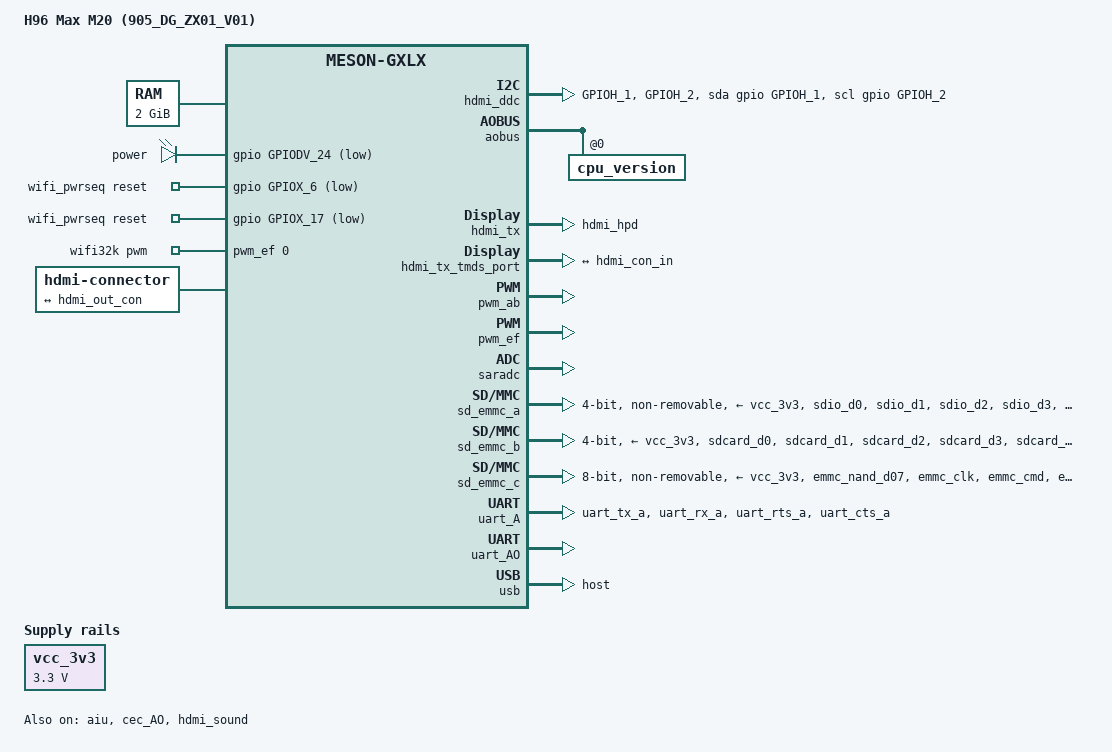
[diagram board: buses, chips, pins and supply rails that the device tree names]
/dts-v1/;

/*
 * Written by tools/dtcx/upstream.py from board.dts: a view, not edited.
 * Over gregkh/linux at v7.3.4.
 * Needs, beyond it, found by name and so best-effort: each
 * patch adding a name the tree uses or a dtsi change it keeps, which may in
 * turn need others before it:
 *   patches/linux-meson/0009-dt-bindings-display-meson-dw-hdmi-Add-GXLX2-and-ddc-i2c-bus.patch:
 *     "amlogic,meson-gxlx2-dw-hdmi"
 *   patches/linux-meson/0010-dt-bindings-media-amlogic-gx-vdec-Add-the-GXLX-mailbox-interrupt.patch:
 *     "amlogic,gxlx-vdec"
 *   patches/meson-dw-hdmi/0001-drm-meson-dw-hdmi-add-GXLX2-support.patch:
 *     "amlogic,meson-gxlx2-dw-hdmi"
 *   patches/linux-meson/0008-arm64-dts-amlogic-Add-the-GXLX2-S905L3-SoC.patch:
 *     the dtsi, which it creates
 *   patches/meson-codecs/0004-venc-h264-gxlx2.patch:
 *     "amlogic,amvenc_avc", "amlogic,gxlx-vdec"
 *   patches/meson-codecs/0005-venc-hevc-gxlx2.patch:
 *     "amlogic,gxl-clkc", "amlogic,gxlx-vdec", "cnm,HevcEnc"
 * Left out, the distribution's, not the board's:
 *   /reserved-memory/ramoops@7400000
 */

#include "meson-gxlx2-s905l3.dtsi"
#include <dt-bindings/gpio/gpio.h>
#include <dt-bindings/gpio/meson-gxl-gpio.h>
#include <dt-bindings/interrupt-controller/arm-gic.h>
#include <dt-bindings/interrupt-controller/irq.h>

/ {
	/* board first; the GXLX family last, which mainline's drivers match */
	compatible = "h96max-m20,gxlx2-tvbox", "amlogic,p291", "amlogic,s905l", "amlogic,meson-gxlx";
	/* the factory's model is only "Amlogic" */
	model = "H96 Max M20 (905_DG_ZX01_V01)";

	aliases {
		serial0 = &uart_AO;
		serial1 = &uart_A;
		serial2 = &uart_B;
		serial3 = &uart_C;
		serial4 = &uart_AO_B;
	};

	chosen {
		/* earlycon, in BOARD_CMDLINE, takes its console from here */
		stdout-path = "serial0:115200n8";
	};

	cpus {
		cpu-map {
			cluster0: cluster0 {
				core0 {
					cpu = <&cpu0>;
				};

				core1 {
					cpu = <&cpu1>;
				};

				core2 {
					cpu = <&cpu2>;
				};

				core3 {
					cpu = <&cpu3>;
				};
			};
		};
	};

	thermal-zones {
		cpu-thermal {
			polling-delay-passive = <100>;
			sustainable-power = <2150>;

			trips {
				switch_on: trip-0 {
					temperature = <75000>;
					hysteresis = <1000>;
					type = "passive";
				};
			};
		};
	};

	/* 2 GiB, where stock's linux,usable-memory ends; U-Boot writes what it finds at boot */
	memory@0 {
		device_type = "memory";
		reg = <0x0 0x0 0x0 0x80000000>;
	};

	gpioleds {
		compatible = "gpio-leds";
		status = "okay";

		/* the board's one LED, blue: the factory's sys_red, which its disabled sysled node
		   drives active low; power is the name the shared LED hooks drive */
		led-power {
			label = "power";
			gpios = <&gpio GPIODV_24 GPIO_ACTIVE_LOW>;
			default-state = "on";
		};
	};

	amvenc_avc {
		compatible = "amlogic,amvenc_avc";
		interrupts = <GIC_SPI 45 IRQ_TYPE_EDGE_RISING>;
		interrupt-names = "mailbox_2";
		status = "okay";
	};

	hevc_enc {
		compatible = "cnm,HevcEnc";
		interrupts = <GIC_SPI 187 IRQ_TYPE_EDGE_RISING>;
		interrupt-names = "wave420l_irq";
		#address-cells = <1>;
		#size-cells = <1>;
		ranges;
		status = "okay";

		io_reg_base@c8810000 {
			reg = <0xc8810000 0x4000>;
		};
	};

	wifi_pwrseq: sdio-pwrseq {
		compatible = "mmc-pwrseq-simple";
		/* the combo chip's Bluetooth enable too, the factory's bt-dev gpio_en: both halves
		   power up together, before the SDIO bus probes */
		reset-gpios = <&gpio GPIOX_6 GPIO_ACTIVE_LOW>, <&gpio GPIOX_17 GPIO_ACTIVE_LOW>;
		pinctrl-names = "default";
		pinctrl-0 = <&wifi_32k_pins>;
		clocks = <&wifi32k>;
		clock-names = "ext_clock";
	};

	wifi32k: wifi32k {
		compatible = "pwm-clock";
		#clock-cells = <0>;
		clock-frequency = <32770>;
		pwms = <&pwm_ef 0 30516 0>;
	};

	vcc_3v3: regulator-vcc-3v3 {
		compatible = "regulator-fixed";
		regulator-name = "VCC_3V3";
		regulator-min-microvolt = <3300000>;
		regulator-max-microvolt = <3300000>;
		regulator-always-on;
	};

	connector {
		compatible = "hdmi-connector";
		type = "a";

		port {
			hdmi_con_in: endpoint {
				remote-endpoint = <&hdmi_out_con>;
			};
		};
	};

	/* the HDMI DDC lines as a full I2C bus: dw-hdmi's own master reads the EDID but
	   refuses DDC/CI */
	hdmi_ddc: i2c-ddc {
		compatible = "i2c-gpio";
		sda-gpios = <&gpio GPIOH_1 GPIO_OPEN_DRAIN>;
		scl-gpios = <&gpio GPIOH_2 GPIO_OPEN_DRAIN>;
		i2c-gpio,delay-us = <5>;
		pinctrl-names = "default";
		pinctrl-0 = <&hdmitx_ddc_gpio>;
	};
};

&aiu {
	status = "okay";
};

&aobus {
	cpu_version@220 {
		reg = <0 0x220 0 0x04>;
	};
};

&cec_AO {
	pinctrl-names = "default";
	pinctrl-0 = <&hdmitx_aocec>;
	hdmi-phandle = <&hdmi_tx>;
	status = "okay";
};

&cpu_cooling_maps {
	map-gpu {
		trip = <&cpu_passive>;
		cooling-device = <&mali 0 4>;
		contribution = <1024>;
	};
};

&cpu_critical {
	hysteresis = <1000>;
};

&cpu_hot {
	temperature = <95000>;
	hysteresis = <5000>;
};

&cpu_passive {
	temperature = <85000>;
	hysteresis = <1000>;
};

&eth_phy_mux {
	/* NOT FITTED: the Ethernet PHY's MDIO, with no Ethernet */
	status = "disabled";
};

/* HDMI audio: the AIU's I2S into the HDMI transmitter, inside the SoC */
&hdmi_sound {
	/* the ALSA id the board's hdmi-audio files key on */
	model = "H96-MAX-M20";
	status = "okay";
};

/* DWC registers byte-addressed from here, TOP registers 0x8000 on */
&hdmi_tx {
	pinctrl-names = "default";
	/* hot-plug only: the DDC pins are i2c-hdmi-ddc's */
	pinctrl-0 = <&hdmitx_hpd>;
	ddc-i2c-bus = <&hdmi_ddc>;
	status = "okay";
};

/* TMDS Output */
&hdmi_tx_tmds_port {
	hdmi_out_con: endpoint {
		remote-endpoint = <&hdmi_con_in>;
	};
};

&mali {
	#cooling-cells = <2>;
};

&pinctrl_aobus {
	hdmitx_aocec: hdmitx_aocec {
		mux {
			groups = "ao_cec";
			function = "cec_ao";
		};
	};
};

&pinctrl_periphs {
	a_uart_pins: a_uart {
		mux {
			groups = "uart_tx_a", "uart_rx_a", "uart_rts_a";
			function = "uart_a";
		};

		mux1 {
			groups = "uart_cts_a";
			function = "uart_a";
			bias-pull-down;
		};
	};

	wifi_32k_pins: wifi_32k_pins {
		mux {
			groups = "pwm_e";
			function = "pwm_e";
		};
	};

	emmc_conf_pull_up: emmc_conf_pull_up {
		mux {
			groups = "emmc_nand_d07", "emmc_clk", "emmc_cmd";
			function = "emmc";
			input-enable;
			bias-pull-up;
		};
	};

	emmc_conf_pull_done: emmc_conf_pull_done {
		mux {
			groups = "emmc_ds";
			function = "emmc";
			input-enable;
			bias-pull-down;
		};
	};

	sd_all_pins: sd_all_pins {
		mux {
			groups = "sdcard_d0", "sdcard_d1", "sdcard_d2", "sdcard_d3", "sdcard_cmd", "sdcard_clk";
			function = "sdcard";
			input-enable;
			bias-pull-up;
		};
	};

	sdio_all_pins: sdio_all_pins {
		mux {
			groups = "sdio_d0", "sdio_d1", "sdio_d2", "sdio_d3", "sdio_clk", "sdio_cmd";
			function = "sdio";
			input-enable;
			bias-pull-up;
		};
	};

	hdmitx_hpd: hdmitx_hpd {
		mux {
			groups = "hdmi_hpd";
			function = "hdmi_hpd";
		};
	};

	/* the DDC pins as GPIOs, for i2c-hdmi-ddc; U-Boot leaves them on hdmi_i2c */
	hdmitx_ddc_gpio: hdmitx-ddc-pins {
		mux {
			groups = "GPIOH_1", "GPIOH_2";
			function = "gpio_periphs";
		};
	};
};

&pwm_ab {
	status = "okay";
};

&pwm_ef {
	status = "okay";
};

&saradc {
	status = "okay";
};

&sd_emmc_a {
	pinctrl-names = "default";
	pinctrl-0 = <&sdio_all_pins>;
	bus-width = <4>;
	cap-sd-highspeed;
	cap-mmc-highspeed;
	non-removable;
	disable-wp;
	mmc-pwrseq = <&wifi_pwrseq>;
	vmmc-supply = <&vcc_3v3>;
	vqmmc-supply = <&vcc_3v3>;
	max-frequency = <50000000>;
	/* no cap-sdio-irq, which the factory's caps ask for: with it the MT7668's events arrive
	   late or not at all; ksdioirqd's polling associates in 3 s (dtb.md) */
	keep-power-in-suspend;
	status = "okay";
};

&sd_emmc_b {
	pinctrl-names = "default";
	pinctrl-0 = <&sd_all_pins>;
	bus-width = <4>;
	cap-sd-highspeed;
	max-frequency = <100000000>;
	disable-wp;
	vmmc-supply = <&vcc_3v3>;
	vqmmc-supply = <&vcc_3v3>;
	cap-mmc-highspeed;
	status = "okay";
};

&sd_emmc_c {
	pinctrl-names = "default";
	pinctrl-0 = <&emmc_conf_pull_up>, <&emmc_conf_pull_done>;
	bus-width = <8>;
	cap-sd-highspeed;
	cap-mmc-highspeed;
	non-removable;
	disable-wp;
	vmmc-supply = <&vcc_3v3>;
	vqmmc-supply = <&vcc_3v3>;
	max-frequency = <50000000>;
	cap-mmc-hw-reset;
	status = "okay";
};

&uart_A {
	pinctrl-names = "default";
	pinctrl-0 = <&a_uart_pins>;
	status = "okay";
};

&uart_AO {
	status = "okay";
};

&usb {
	/* port 0 is the USB-C, OTG by the factory's dwc2 node; Android runs it as host, a gadget
	   appearing only in U-Boot's burning window (worklog.md), which drives the port itself */
	dr_mode = "host";
};
